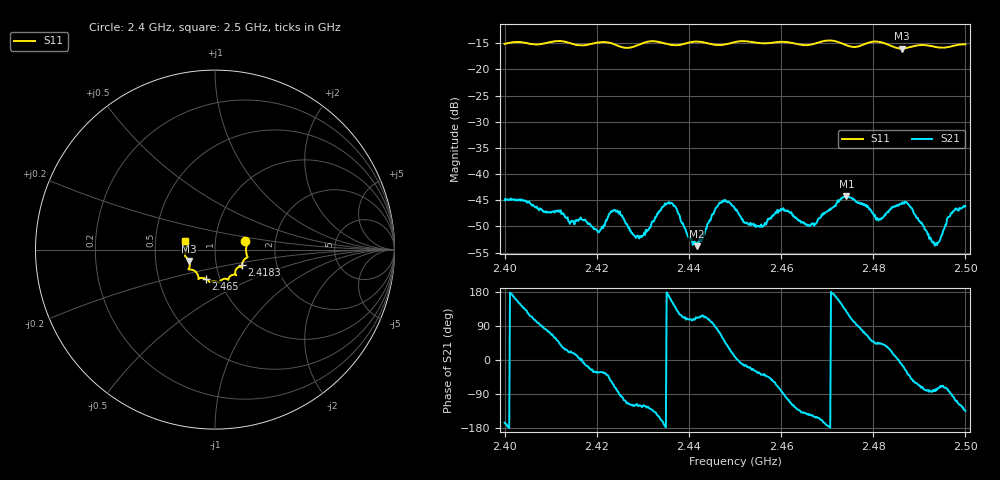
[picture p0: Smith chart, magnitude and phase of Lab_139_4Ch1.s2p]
# Hz S RI R 50
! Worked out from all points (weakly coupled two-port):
!   601 points, 2.4 GHz to 2.5 GHz, reference 50 ohm
!   highest |S21| = -44.18 dB at 2.4742 GHz (marker M1); lowest = -53.8 dB at 2.4417 GHz (marker M2)
!   lowest |S11| = -16.0 dB at 2.4862 GHz (marker M3), VSWR 1.38, Z = 37.1 - j4.82 ohm
!   |S11| at or under -10 dB: start of sweep to end of sweep
!   S12 and S22 are empty: the file has one direction only
!   S11 on the Smith chart (normalised r, x): 2.4 GHz: 1.40, +0.13; 2.4183 GHz: 1.33, -0.24; 2.465 GHz: 0.86, -0.29; 2.5 GHz: 0.71, +0.07
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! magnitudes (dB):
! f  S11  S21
! 2.4 GHz  -15.1  -45.0
! 2.4167 GHz  -15.4  -48.6
! 2.4183 GHz  -15.2  -49.5
! 2.4205 GHz  -14.8  -51.1
! 2.424 GHz  -15.3  -46.9
! 2.4295 GHz  -15.2  -52.1
! 2.4333 GHz  -14.7  -47.5
! 2.4365 GHz  -15.4  -45.7
! 2.4417 GHz  -14.7  -53.8
! 2.447 GHz  -15.4  -45.5
! 2.45 GHz  -14.8  -46.7
! 2.455 GHz  -15.0  -50.0
! 2.46 GHz  -14.7  -46.6
! 2.465 GHz  -15.4  -49.2
! 2.4667 GHz  -15.2  -49.4
! 2.4742 GHz  -15.4  -44.2
! 2.481 GHz  -14.7  -48.6
! 2.4833 GHz  -15.3  -47.3
! 2.4862 GHz  -16.0  -45.7
! 2.4937 GHz  -15.7  -53.1
! 2.4965 GHz  -15.7  -48.1
! 2.5 GHz  -15.2  -46.1
